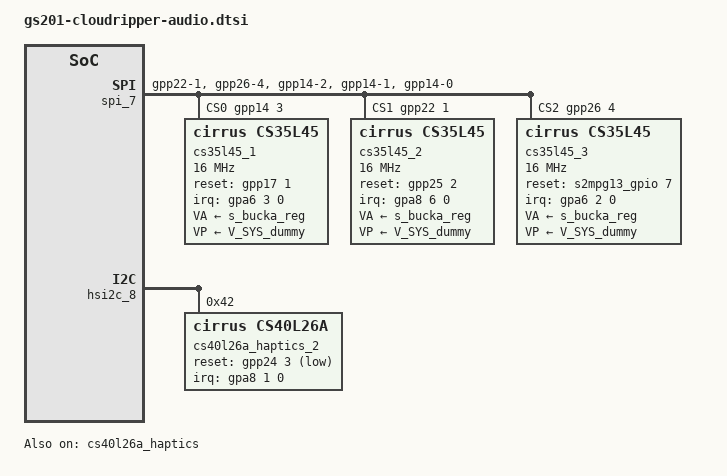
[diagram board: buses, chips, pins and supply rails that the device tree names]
// SPDX-License-Identifier: GPL-2.0-only
/*
 * Google GS201 Cloudripper-specific audio device tree source
 *
 * Copyright (c) 2021 Google, LLC
 *		https://www.google.com
 *
*/

#include <dt-bindings/gpio/gpio.h>
#include <arm64/exynos/exynos-pinctrl.h>
#include "gs201/gs101-pinctrl.h"
#include <dt-bindings/regulator/samsung,s2mpg-regulator.h>
#include <dt-bindings/sound/google-aoc.h>

&dai_be_tdm0_rx {
	codec {
		sound-dai = <&cs35l45_1 0>,
			<&cs35l45_2 0>,
			<&cs35l45_3 0>;
	};
};

&dai_be_tdm0_tx {
	codec {
		sound-dai = <&cs35l45_1 0>,
			<&cs35l45_2 0>,
			<&cs35l45_3 0>;
	};
};

&dai_be_haptic_rx_codec {
	sound-dai = <&cs40l26_codec 0>, <&cs40l26_codec_2 0>;
};

&aoc_snd_card {
	clks {
		sys {
			sys@cs35l45_1 {
				comp = <&cs35l45_1>;
				src = "BCLK";
				/* clk id */
				id = <0>;
				/* clk source */
				srcid = <0>;
				/* in clk multiple */
				in_mul = <1>;
				/* out clk multiple */
				out_mul = <1>;
			};
			sys@cs35l45_2 {
				comp = <&cs35l45_2>;
				src = "BCLK";
				/* clk id */
				id = <0>;
				/* clk source */
				srcid = <0>;
				/* in clk multiple */
				in_mul = <1>;
				/* out clk multiple */
				out_mul = <1>;
			};
			sys@cs35l45_3 {
				comp = <&cs35l45_3>;
				src = "BCLK";
				/* clk id */
				id = <0>;
				/* clk source */
				srcid = <0>;
				/* in clk multiple */
				in_mul = <1>;
				/* out clk multiple */
				out_mul = <1>;
			};
			sys@cs40l26_codec_2 {
				comp = <&cs40l26_codec_2>;
				src = "BCLK";
				/* clk id */
				id = <0>;
				/* clk source */
				srcid = <0>;
				/* in clk multiple */
				in_mul = <1>;
				/* out clk multiple */
				out_mul = <1>;
			};
		};
	};
};

/* GPIO_FAR_ALIVE */
&pinctrl_1 {
	cs35l45_1_irq: cs35l45-1-irq {
		samsung,pins = "gpa6-3"; /* XEINT_3 */
		samsung,pin-function = <EXYNOS_PIN_FUNC_EINT>;
		samsung,pin-pud = <EXYNOS_PIN_PULL_NONE>;
	};

	cs35l45_2_irq: cs35l45-2-irq {
		samsung,pins = "gpa8-6"; /* XEINT_26 */
		samsung,pin-function = <EXYNOS_PIN_FUNC_EINT>;
		samsung,pin-pud = <EXYNOS_PIN_PULL_NONE>;
	};

	cs35l45_3_irq: cs35l45-3-irq {
		samsung,pins = "gpa6-2"; /* XEINT_2 */
		samsung,pin-function = <EXYNOS_PIN_FUNC_EINT>;
		samsung,pin-pud = <EXYNOS_PIN_PULL_NONE>;
	};
	hapt_amp2_irq: hapt-amp2-irq {
		samsung,pins = "gpa8-0"; /* XEINT_12 */
		samsung,pin-function = <EXYNOS_PIN_FUNC_EINT>;
		samsung,pin-pud = <EXYNOS_PIN_PULL_NONE>;
	};
};

/* GPIO_PERIC0 */
&pinctrl_4 {
	cs35l45_1_rst: cs35l45-1-rst {
		samsung,pins = "gpp17-1"; /* XAPC_VSYNC8 */
		samsung,pin-function = <EXYNOS_PIN_FUNC_OUTPUT>;
		samsung,pin-pud = <EXYNOS_PIN_PULL_NONE>;
		samsung,pin-con-pdn = <EXYNOS_PIN_PDN_PREV>;
		samsung,pin-pud-pdn = <EXYNOS_PIN_PULL_NONE>;
	};

	cs35l45_miso: cs35l45-miso {
		samsung,pins = "gpp14-2";
		samsung,pin-pud = <EXYNOS_PIN_PULL_DOWN>;
	};

	cs35l45_mosi: cs35l45-mosi {
		samsung,pins = "gpp14-1";
		samsung,pin-drv = <GS101_PIN_DRV_10_MA>;
	};

	cs35l45_clk: cs35l45-clk {
		samsung,pins = "gpp14-0";
		samsung,pin-drv = <GS101_PIN_DRV_10_MA>;
	};
	hapt_amp2_rst: hapt-amp2-rst {
		samsung,pins = "gpp18-2"; /* XAPC_USI14_RTSn_DI */
		samsung,pin-function = <EXYNOS_PIN_FUNC_OUTPUT>;
		samsung,pin-pud = <EXYNOS_PIN_PULL_NONE>;
		samsung,pin-con-pdn = <EXYNOS_PIN_PDN_PREV>;
		samsung,pin-pud-pdn = <EXYNOS_PIN_PULL_NONE>;
	};
};

&spi7_cs_func {
	samsung,pins = "gpp14-3";
	samsung,pin-drv = <GS101_PIN_DRV_5_MA>;
};

/* GPIO_PERIC1 */
&pinctrl_5 {
	cs35l45_2_rst: cs35l45-2-rst {
		samsung,pins = "gpp25-2"; /* XAPC_USI13_RTSN_DI */
		samsung,pin-function = <EXYNOS_PIN_FUNC_OUTPUT>;
		samsung,pin-pud = <EXYNOS_PIN_PULL_NONE>;
		samsung,pin-con-pdn = <EXYNOS_PIN_PDN_PREV>;
		samsung,pin-pud-pdn = <EXYNOS_PIN_PULL_NONE>;
	};

	cs35l45_cs2: cs35l45-cs2 {
		samsung,pins = "gpp22-1";
		samsung,pin-function = <EXYNOS_PIN_FUNC_OUTPUT>;
		samsung,pin-pud = <EXYNOS_PIN_PULL_NONE>;
		samsung,pin-drv = <GS101_PIN_DRV_5_MA>;
	};

	cs35l45_cs3: cs35l45-cs3 {
		samsung,pins = "gpp26-4";
		samsung,pin-function = <EXYNOS_PIN_FUNC_OUTPUT>;
		samsung,pin-pud = <EXYNOS_PIN_PULL_NONE>;
		samsung,pin-drv = <GS101_PIN_DRV_5_MA>;
	};
};

&s2mpg13_pinctrl {
	cs35l45_3_rst: cs35l45-3-rst {
	};
};

&spi_7 {
	#address-cells = <1>;
	#size-cells = <0>;
	status = "okay";

	pinctrl-names = "default";
	pinctrl-0 = <&spi7_bus &spi7_cs_func &cs35l45_cs2 &cs35l45_cs3
		     &cs35l45_miso &cs35l45_mosi &cs35l45_clk>;
	cs-gpios = <&gpp14 3 GPIO_ACTIVE_HIGH>, <&gpp22 1 GPIO_ACTIVE_HIGH>,
		   <&gpp26 4 GPIO_ACTIVE_HIGH>;

	cs35l45_1: cs35l45@0 {
		#sound-dai-cells = <1>;
		compatible = "cirrus,cs35l45";
		spi-max-frequency = <16000000>;
		reg = <0>;

		status = "okay";

		pinctrl-names = "default";
		pinctrl-0 = <&cs35l45_1_irq &cs35l45_1_rst>;

		interrupt-parent = <&gpa6>;
		interrupts = <3 0 0>;

		reset-gpios = <&gpp17 1 GPIO_ACTIVE_HIGH>;

		VA-supply = <&s_bucka_reg>;
		VP-supply = <&V_SYS_dummy>;

		cirrus,use-tdm-slots;
		cirrus,asp-sdout-hiz-ctrl = <3>;
		/* cirrus,tuning-has-prefix;
		cirrus,left-channel-amp; */

		cirrus,gpio-ctrl2 {
			gpio-ctrl = <0x5>;
			gpio-invert = <1>;
		};

		controller-data {
			cs-gpio = <&gpp14 3 GPIO_ACTIVE_HIGH>;
			samsung,spi-feedback-delay = <1>;
			/* SET SPI CS CONTROL TO AUTOMATIC */
			samsung,spi-chip-select-mode = <1>;
		};
	};

	cs35l45_2: cs35l45@1 {
		#sound-dai-cells = <1>;
		sound-name-prefix = "R";
		compatible = "cirrus,cs35l45";
		spi-max-frequency = <16000000>;
		reg = <1>;

		status = "okay";

		pinctrl-names = "default";
		pinctrl-0 = <&cs35l45_2_irq &cs35l45_2_rst>;

		interrupt-parent = <&gpa8>;
		interrupts = <6 0 0>;

		reset-gpios = <&gpp25 2 GPIO_ACTIVE_HIGH>;

		VA-supply = <&s_bucka_reg>;
		VP-supply = <&V_SYS_dummy>;

		cirrus,asp-sdout-hiz-ctrl = <3>;
		/*cirrus,tuning-has-prefix;
		cirrus,right-channel-amp;*/

		cirrus,gpio-ctrl2 {
			gpio-ctrl = <0x5>;
			gpio-invert = <1>;
		};

		controller-data {
			cs-gpio =<&gpp22 1 GPIO_ACTIVE_HIGH>;
			samsung,spi-feedback-delay = <1>;
			/* SET SPI CS CONTROL TO AUTOMATIC */
			samsung,spi-chip-select-mode = <1>;
		};
	};

	cs35l45_3: cs35l45@2 {
		#sound-dai-cells = <1>;
		sound-name-prefix = "E";
		compatible = "cirrus,cs35l45";
		spi-max-frequency = <16000000>;
		reg = <2>;

		status = "okay";

		pinctrl-names = "default";
		pinctrl-0 = <&cs35l45_3_irq>;

		interrupt-parent = <&gpa6>;
		interrupts = <2 0 0>;

		reset-gpios = <&s2mpg13_gpio 7 GPIO_ACTIVE_HIGH>;

		VA-supply = <&s_bucka_reg>;
		VP-supply = <&V_SYS_dummy>;

		cirrus,asp-sdout-hiz-ctrl = <3>;
		/*cirrus,tuning-has-prefix;
		cirrus,right-channel-amp;*/

		cirrus,gpio-ctrl2 {
			gpio-ctrl = <0x5>;
			gpio-invert = <1>;
		};

		controller-data {
			cs-gpio =<&gpp26 4 GPIO_ACTIVE_HIGH>;
			samsung,spi-feedback-delay = <1>;
			/* SET SPI CS CONTROL TO AUTOMATIC */
			samsung,spi-chip-select-mode = <1>;
		};
	};
};

&aoc {
	aoc-board-cfg = "cr";
	aoc-board-id = <0x30101>;
	aoc-board-rev = <0x10000>;
};

&cs40l26a_haptics {
	input-device-id = <0>;
	pinctrl-0 = <&hapt_amp2_irq &hapt_amp2_rst &hapt_amp_trig>;

	interrupt-parent = <&gpa8>;
	interrupts = <0 0 0>;

	reset-gpios = <&gpp18 2 GPIO_ACTIVE_LOW>;

	status = "okay";
};

&hsi2c_8 {
	#address-cells = <1>;
	#size-cells = <0>;

	cs40l26a_haptics_2: cs40l26a@42 {
		compatible = "cirrus,cs40l26a";
		reg = <0x42>;
		input-device-name = "cs40l26_dual_input";    /* input device name */
		input-device-id = <1>;

		pinctrl-names = "default";
		pinctrl-0 = <&hapt_amp_irq &hapt_amp_rst>;

		interrupt-parent = <&gpa8>;
		interrupts = <1 0 0>;

		reset-gpios = <&gpp24 3 GPIO_ACTIVE_LOW>;

		cirrus,bst-dcm-en = <0>;
		cirrus,pwle-zero-cross-en;
		cirrus,vpbr-enable;
		cirrus,vpbr-thld-uv = <3000000>;	/* 3.0V */
		cirrus,bst-expl-mode-disable;
		cirrus,bst-ipk-microamp = <2500000>;	/* 2.5A */
		cirrus,bst-ctl-microvolt = <11000000>;	/* 11V */
		cirrus,f0-default = <0x244000>;		/* 145 Hz */
		cirrus,redc-default = <0x68000>;	/* 13 Ohm */
		cirrus,pm-active-timeout-ms = <5>;

		status = "okay";

		cs40l26_codec_2: cs40l26_codec_2@snd {
			#sound-dai-cells = <1>;
			sound-name-prefix = "HR";
			compatible = "cs40l26-codec";
			status = "okay";
		};
	};
};
